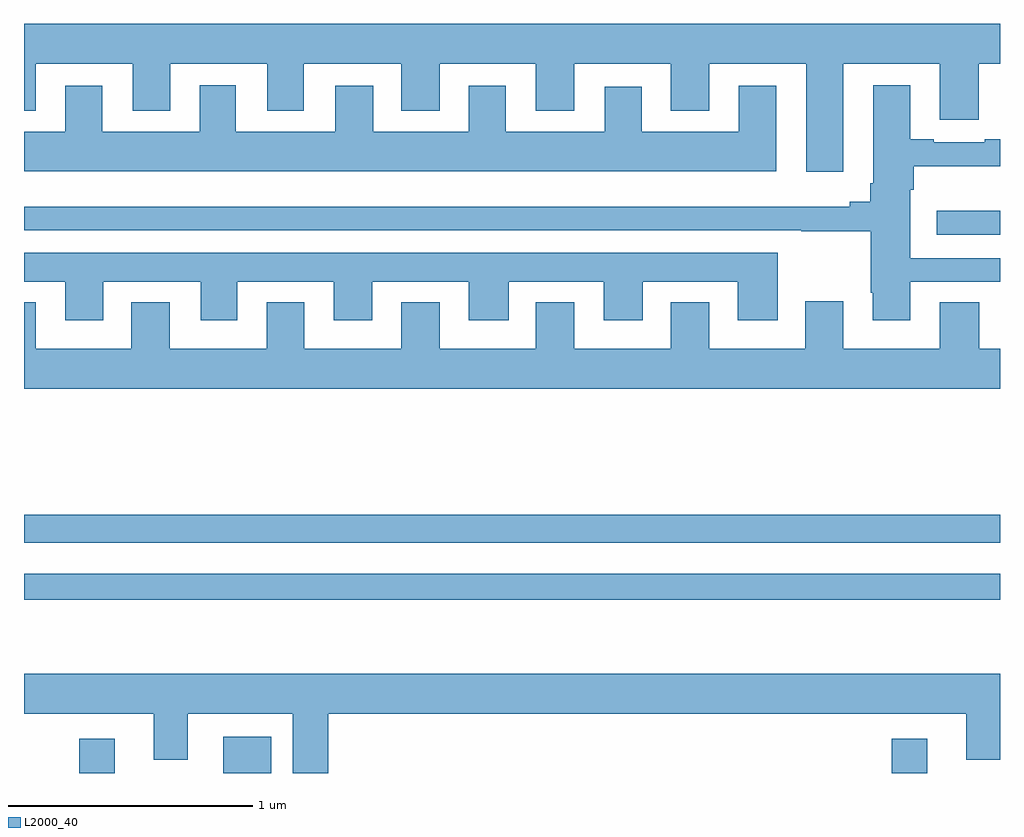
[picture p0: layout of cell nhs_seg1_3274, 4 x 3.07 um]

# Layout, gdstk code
import gdstk
lib = gdstk.Library(unit=1e-6, precision=1e-09)
def R(c, l, rs):  # rectangles x0, y0, x1, y1
    for r in rs: c.add(gdstk.rectangle(r[:2], r[2:], *l))
def P(c, l, *ps):  # polygons
    for p in ps: c.add(gdstk.Polygon(p, *l))
L2000_40 = (2000, 40)

nhs_seg1_3274 = lib.new_cell('nhs_seg1_3274')
R(nhs_seg1_3274, L2000_40, [(289.226,506.199,289.372,506.341), (289.817,506.199,290.013,506.35), (292.556,506.199,292.702,506.341), (289,506.91,293,507.018), (289,507.144,293,507.26), (292.74,508.407,293,508.505)])
P(nhs_seg1_3274, L2000_40, [(292.357,509.108),(292.754,509.108),(292.754,508.878),(292.912,508.878),(292.912,509.108),(293,509.108),(293,509.272),(289,509.272),(289,508.914),(289.048,508.914),(289.048,509.108),(289.445,509.108),(289.445,508.914),(289.6,508.914),(289.6,509.108),(289.997,509.108),(289.997,508.914),(290.146,508.914),(290.146,509.108),(290.546,509.108),(290.546,508.914),(290.704,508.914),(290.704,509.108),(291.098,509.108),(291.098,508.914),(291.256,508.914),(291.256,509.108),(291.65,509.108),(291.65,508.914),(291.808,508.914),(291.808,509.108),(292.205,509.108),(292.205,508.665),(292.357,508.665)],
  [(292.633,508.215),(293,508.215),(293,508.311),(292.633,508.311),(292.633,508.592),(292.646,508.592),(292.646,508.688),(293,508.688),(293,508.798),(292.937,508.798),(292.937,508.785),(292.729,508.785),(292.729,508.798),(292.633,508.798),(292.633,509.02),(292.481,509.02),(292.481,508.618),(292.469,508.618),(292.469,508.541),(292.385,508.541),(292.385,508.522),(289,508.522),(289,508.425),(292.186,508.425),(292.186,508.42),(292.471,508.42),(292.471,508.168),(292.478,508.168),(292.478,508.056),(292.633,508.056)],
  [(292.084,509.017),(291.929,509.017),(291.929,508.828),(291.532,508.828),(291.532,509.014),(291.38,509.014),(291.38,508.828),(290.974,508.828),(290.974,509.017),(290.822,509.017),(290.822,508.828),(290.431,508.828),(290.431,509.017),(290.276,509.017),(290.276,508.828),(289.867,508.828),(289.867,509.02),(289.721,509.02),(289.721,508.828),(289.321,508.828),(289.321,509.017),(289.169,509.017),(289.169,508.828),(289,508.828),(289,508.667),(292.084,508.667)],
  [(289.324,508.214),(289.724,508.214),(289.724,508.056),(289.873,508.056),(289.873,508.214),(290.27,508.214),(290.27,508.056),(290.428,508.056),(290.428,508.214),(290.822,508.214),(290.822,508.056),(290.986,508.056),(290.986,508.214),(291.377,508.214),(291.377,508.056),(291.535,508.056),(291.535,508.214),(291.926,508.214),(291.926,508.056),(292.09,508.056),(292.09,508.333),(289,508.333),(289,508.214),(289.169,508.214),(289.169,508.056),(289.324,508.056)],
  [(289.439,508.129),(289.439,507.94),(289.048,507.94),(289.048,508.129),(289,508.129),(289,507.776),(293,507.776),(293,507.94),(292.915,507.94),(292.915,508.13),(292.754,508.13),(292.754,507.94),(292.357,507.94),(292.357,508.135),(292.202,508.135),(292.202,507.94),(291.808,507.94),(291.808,508.129),(291.65,508.129),(291.65,507.94),(291.256,507.94),(291.256,508.129),(291.098,508.129),(291.098,507.94),(290.704,507.94),(290.704,508.129),(290.546,508.129),(290.546,507.94),(290.149,507.94),(290.149,508.129),(289.994,508.129),(289.994,507.94),(289.597,507.94),(289.597,508.129)],
  [(290.246,506.444),(292.862,506.444),(292.862,506.254),(293,506.254),(293,506.608),(289,506.608),(289,506.444),(289.532,506.444),(289.532,506.254),(289.672,506.254),(289.672,506.444),(290.102,506.444),(290.102,506.199),(290.246,506.199)])

lib.write_gds('nhs_seg1_3274.gds')
